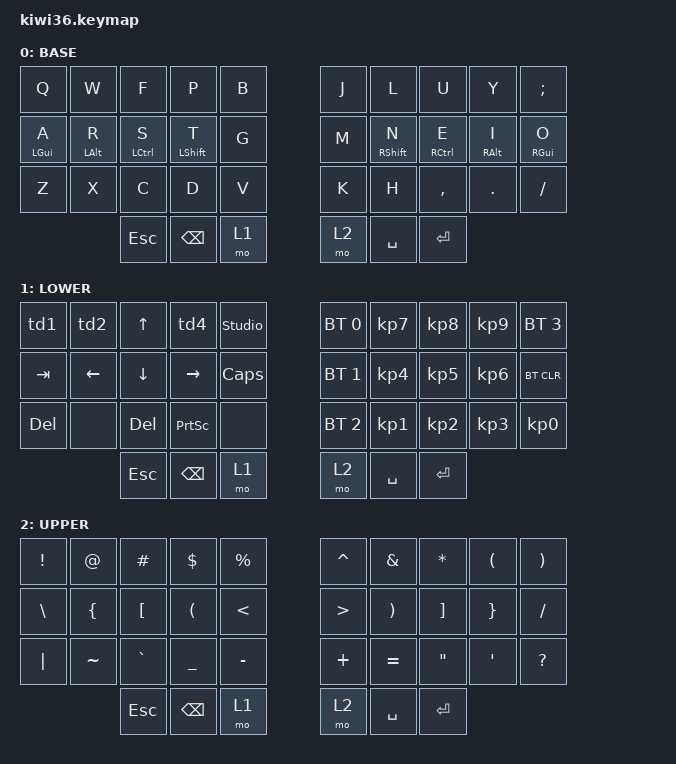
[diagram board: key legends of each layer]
#include <behaviors.dtsi>
#include <dt-bindings/zmk/bt.h>
#include <dt-bindings/zmk/keys.h>

#define BASE 0
#define LOWER 1
#define UPPER 2

/ {
    behaviors {
        hm: homerow_mods {
            compatible = "zmk,behavior-hold-tap";
            #binding-cells = <2>;
            tapping-term-ms = <300>;
            quick-tap-ms = <0>;
            flavor = "tap-preferred";
            bindings = <&kp>, <&kp>;

            require-prior-idle-ms = <100>;
        };

        td1: tap_dance_1 {
            compatible = "zmk,behavior-tap-dance";
            #binding-cells = <0>;
            tapping-term-ms = <200>;
            bindings = <&kp N1>, <&kp EXCL>;
        };

        td2: tap_dance_2 {
            compatible = "zmk,behavior-tap-dance";
            #binding-cells = <0>;
            tapping-term-ms = <200>;
            bindings = <&kp N2>, <&kp AT>;
        };

        td3: tap_dance_3 {
            compatible = "zmk,behavior-tap-dance";
            #binding-cells = <0>;
            tapping-term-ms = <200>;
            bindings = <&kp N3>, <&kp HASH>;
        };

        td4: tap_dance_4 {
            compatible = "zmk,behavior-tap-dance";
            #binding-cells = <0>;
            tapping-term-ms = <200>;
            bindings = <&kp N4>, <&kp DOLLAR>;
        };

        td5: tap_dance_5 {
            compatible = "zmk,behavior-tap-dance";
            #binding-cells = <0>;
            tapping-term-ms = <200>;
            bindings = <&kp N5>, <&kp PRCNT>;
        };

        td6: tap_dance_6 {
            compatible = "zmk,behavior-tap-dance";
            #binding-cells = <0>;
            tapping-term-ms = <200>;
            bindings = <&kp N6>, <&kp CARET>;
        };

        td7: tap_dance_7 {
            compatible = "zmk,behavior-tap-dance";
            #binding-cells = <0>;
            tapping-term-ms = <200>;
            bindings = <&kp N7>, <&kp AMPS>;
        };

        td8: tap_dance_8 {
            compatible = "zmk,behavior-tap-dance";
            #binding-cells = <0>;
            tapping-term-ms = <200>;
            bindings = <&kp N8>, <&kp STAR>;
        };

        td9: tap_dance_9 {
            compatible = "zmk,behavior-tap-dance";
            #binding-cells = <0>;
            tapping-term-ms = <200>;
            bindings = <&kp N9>, <&kp LPAR>;
        };

        td10: tap_dance_10 {
            compatible = "zmk,behavior-tap-dance";
            #binding-cells = <0>;
            tapping-term-ms = <200>;
            bindings = <&kp N0>, <&kp RPAR>;
        };

        td11: tap_dance_11 {
            compatible = "zmk,behavior-tap-dance";
            #binding-cells = <0>;
            tapping-term-ms = <200>;
            bindings = <&kp APOS>, <&kp DQT>;
        };

        td12: tap_dance_12 {
            compatible = "zmk,behavior-tap-dance";
            #binding-cells = <0>;
            tapping-term-ms = <200>;
            bindings = <&kp PIPE>, <&kp BSLH>;
        };

        soft_off {
            hold-time-ms = <5000>; // Only turn off it the key is held for 5 seconds or longer.
        };
    };

    keymap {
        compatible = "zmk,keymap";

        default_layer {
            display-name = "BASE";

            // ------------------------------------------------------         ---------------------------------------------
            // |  ESC-Q   |    W     |     E     |     R      |  T  |         |  Y  |      U      |     I     |  O  |  P  |
            // ------------------------------------------------------         ---------------------------------------------
            // |  LGUI-A  |  LALT-S  |  LCTRL-D  |  LSHIFT-F  |  G  |         |  H  |  LSHIFT-J   |  LCTRL-K  |  L  |  ;  |
            // ------------------------------------------------------          --------------------------------------------
            // |     Z    |     X    |     C     |     V      |  B  |         |  N  |      M      |     ,     |  .  |  /  |
            // ------------------------------------------------------         ---------------------------------------------
            //                                    | GUI | LWR | SPC |         | ENT | RSE  | ALT |
            //                                    -------------------         --------------------

            bindings = <
&kp Q           &kp W           &kp F        &kp P         &kp B  &kp J  &kp L         &kp U        &kp Y            &kp SEMICOLON
&hm LEFT_GUI A  &hm LEFT_ALT R  &hm LCTRL S  &hm LSHIFT T  &kp G  &kp M  &hm RSHIFT N  &hm RCTRL E  &hm RIGHT_ALT I  &hm RIGHT_GUI O
&kp Z           &kp X           &kp C        &kp D         &kp V  &kp K  &kp H         &kp COMMA    &kp DOT          &kp FSLH
                                &kp ESC      &kp BSPC      &mo 1  &mo 2  &kp SPACE     &kp ENTER
            >;
        };

        lower_layer {
            display-name = "LOWER";

            // ---------------------------------------   --------------------------------
            // |  1 !  |    2 @    | 3 # | 4 $ | 5 % |   | 6 ^ |  7 & | 8 * | 9   |  0  |
            // ---------------------------------------   --------------------------------
            // |  TAB  |  LGUI(E)  |     | PRNT| CAP |   |  -  |  =   | lbkt| rbkt| ' " |
            // ---------------------------------------   --------------------------------
            // | delete|           |     | PST | CAD |   |  _  |  +   | lbrc| rbrc|  |  |
            // ---------------------------------------   --------------------------------
            //                     | GUI | LWR | SPC |   | ENT | RSE  | ALT |
            //                     -------------------   --------------------

            bindings = <
&td1     &td2      &kp UP_ARROW  &td4             &studio_unlock  &bt BT_SEL 0  &kp KP_NUMBER_7  &kp KP_NUMBER_8  &kp KP_NUMBER_9  &bt BT_SEL 3
&kp TAB  &kp LEFT  &kp DOWN      &kp RIGHT        &kp CAPS        &bt BT_SEL 1  &kp KP_NUMBER_4  &kp KP_NUMBER_5  &kp KP_NUMBER_6  &bt BT_CLR
&kp DEL  &none     &kp DEL       &kp PRINTSCREEN  &none           &bt BT_SEL 2  &kp KP_NUMBER_1  &kp KP_NUMBER_2  &kp KP_NUMBER_3  &kp KP_NUMBER_0
                   &kp ESC       &kp BACKSPACE    &mo 1           &mo 2         &kp SPACE        &kp ENTER
            >;
        };

        raise_layer {
            display-name = "UPPER";

            // ---------------------------------   ----------------------------------------------
            // | soft  |     |     | ext | ext |   |        |         |  UP    |         |delete|
            // ---------------------------------   ----------------------------------------------
            // |  CLR  | bt1 | bt2 | bt3 |     |   |  HOME  |  LEFT   |  DOWN  |  RIGHT  |      |
            // ---------------------------------   ----------------------------------------------
            // | stdulk|     |     |     |     |   |        |         |        |   END   |      |
            // ---------------------------------   ----------------------------------------------
            //               | GUI | LWR | SPC |   | ENT | RSE  | ALT | 
            //               -------------------   --------------------

            bindings = <
&kp EXCLAMATION  &kp AT_SIGN     &kp HASH          &kp DOLLAR            &kp PERCENT    &kp CARET         &kp AMPERSAND          &kp ASTERISK       &kp LEFT_PARENTHESIS  &kp RIGHT_PARENTHESIS
&kp BACKSLASH    &kp LEFT_BRACE  &kp LEFT_BRACKET  &kp LEFT_PARENTHESIS  &kp LESS_THAN  &kp GREATER_THAN  &kp RIGHT_PARENTHESIS  &kp RIGHT_BRACKET  &kp RIGHT_BRACE       &kp SLASH
&kp PIPE         &kp TILDE       &kp GRAVE         &kp UNDERSCORE        &kp MINUS      &kp PLUS          &kp EQUAL              &kp DOUBLE_QUOTES  &kp SINGLE_QUOTE      &kp QUESTION
                                 &kp ESCAPE        &kp BACKSPACE         &mo 1          &mo 2             &kp SPACE              &kp ENTER
            >;
        };

        extra1 { status = "reserved"; };

        extra2 { status = "reserved"; };
    };
};
